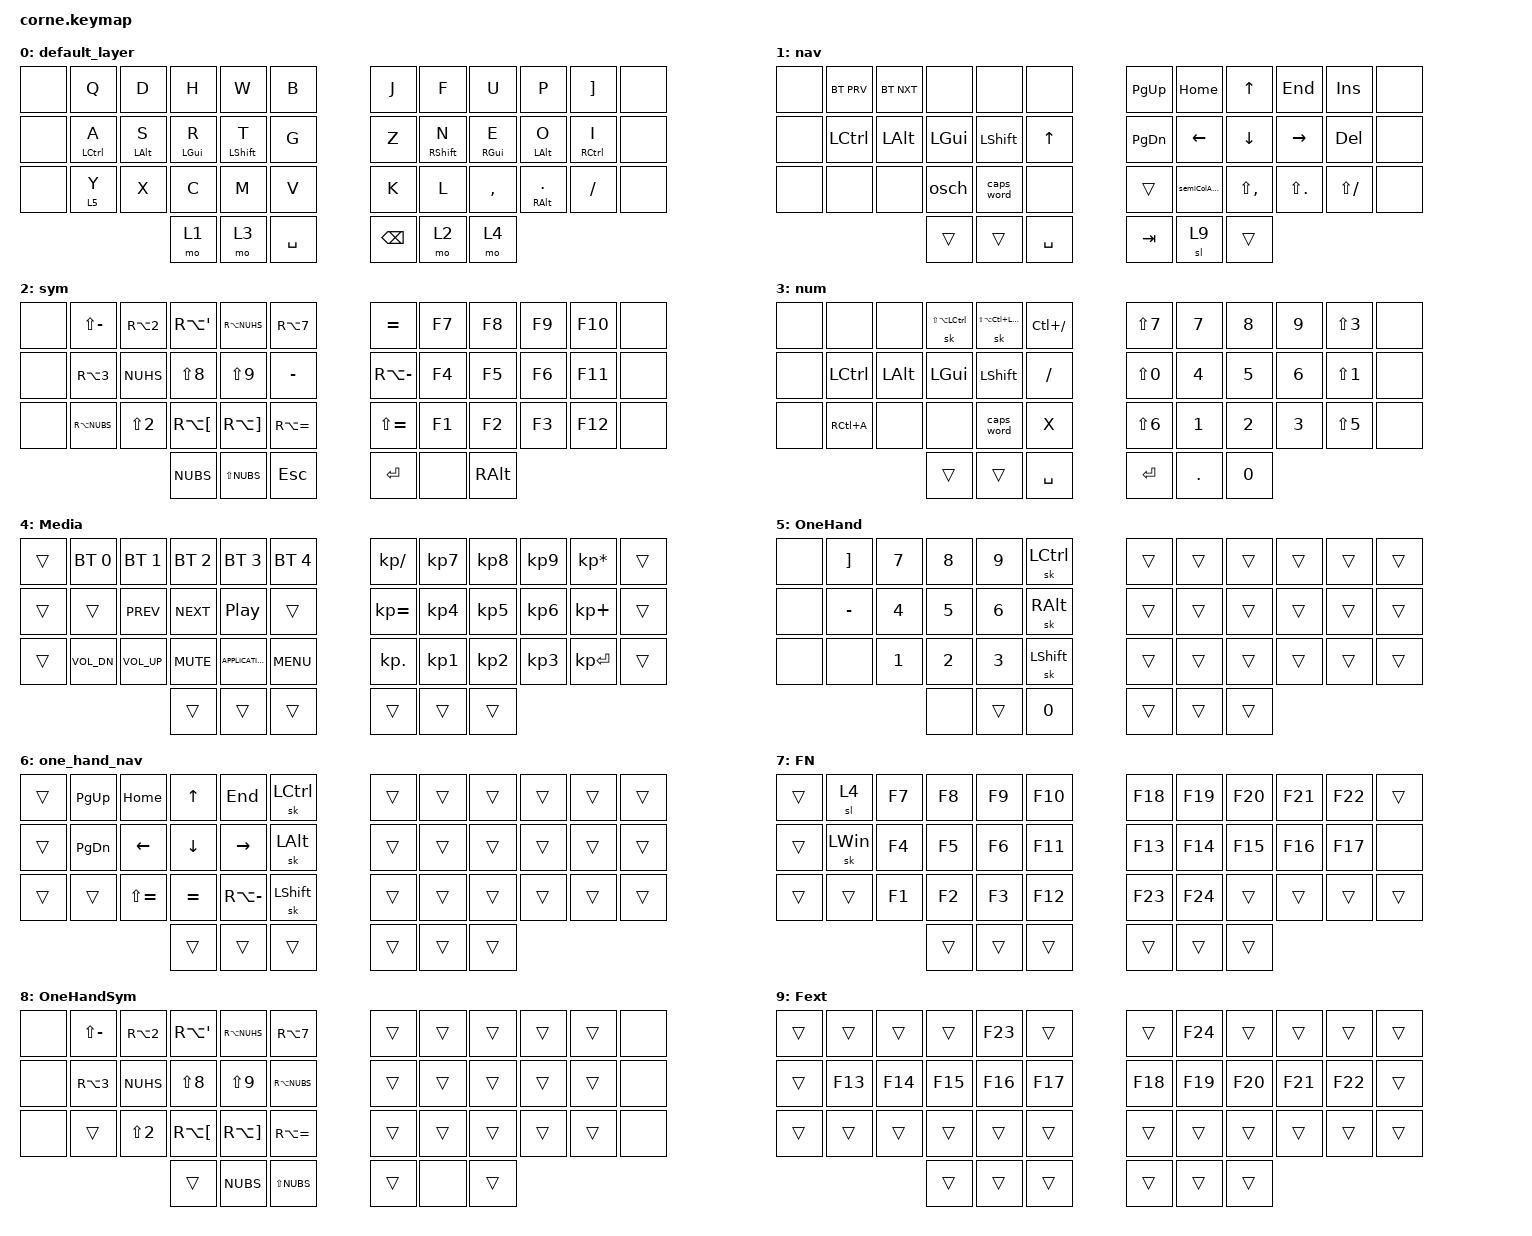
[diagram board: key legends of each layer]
/*
 * Copyright (c) 2020 The ZMK Contributors
 *
 * SPDX-License-Identifier: MIT
 */

#include <behaviors.dtsi>
#include <dt-bindings/zmk/bt.h>
#include <dt-bindings/zmk/keys.h>

&mt {
    tapping-term-ms = <300>;
    flavor = "tap-preferred";
};

/ {
    combos {
        compatible = "zmk,combos";

        COMPOSE {
            bindings = <&kp F24>;
            key-positions = <3 4>;
        };

        a_grave {
            bindings = <&kp LS(SINGLE_QUOTE)>;
            key-positions = <13 25>;
        };

        e_aigu {
            bindings = <&kp LS(SEMICOLON)>;
            key-positions = <20 8>;
        };

        e_grave {
            bindings = <&kp LBRC>;
            key-positions = <20 32>;
        };

        hat {
            bindings = <&kp EQUAL>;
            key-positions = <19 21>;
        };

        e_hat {
            bindings = <&e_hat>;
            key-positions = <21 20 19>;
        };

        AS {
            bindings = <&kp I>;
            key-positions = <13 14>;
        };

        SR {
            bindings = <&kp O>;
            key-positions = <14 15>;
        };

        RT {
            bindings = <&kp E>;
            key-positions = <15 16>;
        };

        TG {
            bindings = <&kp N>;
            key-positions = <16 17>;
        };

        MV {
            bindings = <&kp K>;
            key-positions = <29 28>;
        };

        CM {
            bindings = <&kp L>;
            key-positions = <28 27>;
        };

        XC {
            bindings = <&kp COMMA>;
            key-positions = <26 27>;
        };

        ZX {
            bindings = <&kp DOT>;
            key-positions = <25 26>;
        };

        ZC {
            bindings = <&kp SLASH>;
            key-positions = <25 27>;
        };

        QD {
            bindings = <&kp P>;
            key-positions = <2 1>;
        };

        DH {
            bindings = <&kp U>;
            key-positions = <2 3>;
        };

        WB {
            bindings = <&kp F>;
            key-positions = <4 5>;
        };

        QH {
            bindings = <&kp Z>;
            key-positions = <1 3>;
        };

        DW {
            bindings = <&kp J>;
            key-positions = <2 4>;
        };

        TW {
            bindings = <&kp ENTER>;
            key-positions = <16 4>;
        };

        GB {
            bindings = <&kp BACKSPACE>;
            key-positions = <17 5>;
        };

        tab {
            bindings = <&kp TAB>;
            key-positions = <3 15>;
        };

        esc {
            bindings = <&kp ESC>;
            key-positions = <2 14>;
        };

        xcm {
            bindings = <&kp N0>;
            key-positions = <26 28 27>;
        };

        WG {
            bindings = <&kp DELETE>;
            key-positions = <4 17>;
        };

        ASR {
            bindings = <&kp LC(FSLH)>;
            key-positions = <13 14 15>;
        };

        ZM {
            bindings = <&kp LC(A)>;
            key-positions = <27 25 26>;
        };

        EOI {
            bindings = <&o_hat>;
            key-positions = <23 22 21>;
        };

        a_um {
            bindings = <&kp SINGLE_QUOTE>;
            key-positions = <1 13>;
        };

        o_um {
            bindings = <&kp SEMI>;
            key-positions = <9 21>;
        };

        u_um {
            bindings = <&kp LEFT_BRACKET>;
            key-positions = <9 8>;
        };

        egal {
            bindings = <&kp LS(N0)>;
            key-positions = <19 18>;
        };

        apost {
            bindings = <&kp MINUS>;
            key-positions = <19 22>;
        };

        parag {
            bindings = <&kp GRAVE>;
            key-positions = <9 10 8>;
        };

        underscore {
            bindings = <&kp LS(FSLH)>;
            key-positions = <16 17>;
            layers = <3>;
        };

        clearBT {
            bindings = <&bt BT_CLR>;
            key-positions = <1 10>;
        };
    };

    macros {
        double_arrow: double_arrow {
            compatible = "zmk,behavior-macro";
            #binding-cells = <0>;
            bindings = <&kp LS(N0) &kp LS(NUBS)>;
            label = "DOUBLE_ARROW";
        };

        arrow: arrow {
            compatible = "zmk,behavior-macro";
            #binding-cells = <0>;
            bindings = <&kp SLASH &kp LS(NUBS)>;
            label = "ARROW";
        };

        osch: osch {
            compatible = "zmk,behavior-macro";
            #binding-cells = <0>;
            bindings = <&kp LS(O) &kp LS(S) &kp LS(C) &kp LS(H)>;
            label = "OSCH";
        };

        e_hat: e_hat {
            compatible = "zmk,behavior-macro";
            #binding-cells = <0>;
            bindings = <&kp EQUAL &kp E>;
            label = "E_HAT";
        };

        o_hat: o_hat {
            compatible = "zmk,behavior-macro";
            #binding-cells = <0>;
            bindings = <&kp EQUAL &kp O>;
            label = "O_HAT";
        };

        semiColAtEnd: semiColAtEnd {
            compatible = "zmk,behavior-macro";
            #binding-cells = <0>;
            bindings = <&kp END &kp LS(COMMA)>;
            label = "SEMICOLATEND";
        };
    };

    keymap {
        compatible = "zmk,keymap";

        default_layer {
            // -----------------------------------------------------------------------------------------
            // |  TAB |  Q  |  D  |  H  |  W  |  B  |   |  J  |  F   |  U  |  P  |  ¨  | BKSP |
            // | CTRL |  A  |  S  |  R  |  T  |  G  |   |  Y  |  N   |  E  |  O  |  I  |  '   |
            // | SHFT |  Z  |  X  |  C  |  M  |  V  |   |  K  |  L   |  ,  |  .  |  /  | ESC  |
            //                    | GUI | LWR | SPC |   | ENT | RSE  | ALT |

            bindings = <
&none  &kp Q        &kp D           &kp H           &kp W         &kp B        &kp J          &kp F         &kp U            &kp P           &kp RIGHT_BRACKET  &none
&none  &mt LCTRL A  &mt LEFT_ALT S  &mt LEFT_GUI R  &mt LSHIFT T  &kp G        &kp Z          &mt RSHIFT N  &mt RIGHT_GUI E  &mt LEFT_ALT O  &mt RCTRL I        &none
&none  &lt 5 Y      &kp X           &kp C           &kp M         &kp V        &kp K          &kp L         &kp COMMA        &mt RALT DOT    &kp FSLH           &none
                                    &mo 1           &mo 3         &kp SPACE    &kp BACKSPACE  &mo 2         &mo 4
            >;
        };

        nav {
            // -----------------------------------------------------------------------------------------
            // |  TAB |  1  |  2  |  3  |  4  |  5  |   |  6  |  7  |  8  |  9  |  0  | BKSP |
            // | BTCLR| BT1 | BT2 | BT3 | BT4 | BT5 |   | LFT | DWN |  UP | RGT |     |      |
            // | SHFT |     |     |     |     |     |   |     |     |     |     |     |      |
            //                    | GUI |     | SPC |   | ENT |     | ALT |

            bindings = <
&none  &bt BT_PRV  &bt BT_NXT    &none         &none       &none           &kp PAGE_UP    &kp HOME        &kp UP_ARROW   &kp END      &kp INS       &none
&none  &kp LCTRL   &kp LEFT_ALT  &kp LEFT_GUI  &kp LSHIFT  &kp UP_ARROW    &kp PAGE_DOWN  &kp LEFT_ARROW  &kp DOWN       &kp RIGHT    &kp DEL       &none
&none  &none       &none         &osch         &caps_word  &none           &trans         &semiColAtEnd   &kp LS(COMMA)  &kp LS(DOT)  &kp LS(FSLH)  &none
                                 &trans        &trans      &kp SPACE       &kp TAB        &sl 9           &trans
            >;
        };

        sym {
            // -----------------------------------------------------------------------------------------
            // |  TAB |  !  |  @  |  #  |  $  |  %  |   |  ^  |  &  |  *  |  (  |  )  | BKSP |
            // | CTRL |     |     |     |     |     |   |  -  |  =  |  [  |  ]  |  \  |  `   |
            // | SHFT |     |     |     |     |     |   |  _  |  +  |  {  |  }  | "|" |  ~   |
            //                    | GUI |     | SPC |   | ENT |     | ALT |

            bindings = <
&none  &kp LS(MINUS)     &kp RA(NUMBER_2)  &kp RA(SQT)   &kp RA(NUHS)  &kp RA(N7)       &kp EQUAL      &kp F7  &kp F8    &kp F9  &kp F10  &none
&none  &kp RA(NUMBER_3)  &kp NUHS          &kp LS(N8)    &kp LS(N9)    &kp MINUS        &kp RA(MINUS)  &kp F4  &kp F5    &kp F6  &kp F11  &none
&none  &kp RA(NUBS)      &kp LS(NUMBER_2)  &kp RA(LBKT)  &kp RA(RBKT)  &kp RA(EQUAL)    &kp LS(EQUAL)  &kp F1  &kp F2    &kp F3  &kp F12  &none
                                           &kp NUBS      &kp LS(NUBS)  &kp ESC          &kp RET        &none   &kp RALT
            >;
        };

        num {
            bindings = <
&none  &none      &none         &sk LS(LA(LCTRL))  &sk LS(LA(LC(LEFT_GUI)))  &kp LC(SLASH)    &kp LS(N7)  &kp N7        &kp N8  &kp N9        &kp LS(N3)  &none
&none  &kp LCTRL  &kp LEFT_ALT  &kp LEFT_GUI       &kp LSHIFT                &kp FSLH         &kp LS(N0)  &kp NUMBER_4  &kp N5  &kp NUMBER_6  &kp LS(N1)  &none
&none  &kp RC(A)  &none         &none              &caps_word                &kp X            &kp LS(N6)  &kp N1        &kp N2  &kp N3        &kp LS(N5)  &none
                                &trans             &trans                    &kp SPACE        &kp ENTER   &kp DOT       &kp N0
            >;
        };

        Media {
            bindings = <
&trans  &bt BT_SEL 0  &bt BT_SEL 1  &bt BT_SEL 2  &bt BT_SEL 3       &bt BT_SEL 4    &kp KP_DIVIDE  &kp KP_NUMBER_7  &kp KP_NUMBER_8  &kp KP_NUMBER_9  &kp KP_MULTIPLY  &trans
&trans  &trans        &kp C_PREV    &kp C_NEXT    &kp C_PLAY_PAUSE   &trans          &kp KP_EQUAL   &kp KP_NUMBER_4  &kp KP_NUMBER_5  &kp KP_NUMBER_6  &kp KP_PLUS      &trans
&trans  &kp C_VOL_DN  &kp C_VOL_UP  &kp C_MUTE    &kp K_APPLICATION  &kp C_MENU      &kp KP_DOT     &kp KP_NUMBER_1  &kp KP_NUMBER_2  &kp KP_NUMBER_3  &kp KP_ENTER     &trans
                                    &trans        &trans             &trans          &trans         &trans           &trans
            >;
        };

        OneHand {
            bindings = <
&none  &kp RIGHT_BRACKET  &kp N7  &kp N8  &kp N9  &sk LCTRL    &trans  &trans  &trans  &trans  &trans  &trans
&none  &kp MINUS          &kp N4  &kp N5  &kp N6  &sk RALT     &trans  &trans  &trans  &trans  &trans  &trans
&none  &none              &kp N1  &kp N2  &kp N3  &sk LSHFT    &trans  &trans  &trans  &trans  &trans  &trans
                                  &none   &trans  &kp N0       &trans  &trans  &trans
            >;
        };

        one_hand_nav {
            bindings = <
&trans  &kp PAGE_UP    &kp HOME       &kp UP_ARROW    &kp END        &sk LCTRL       &trans  &trans  &trans  &trans  &trans  &trans
&trans  &kp PAGE_DOWN  &kp LEFT       &kp DOWN_ARROW  &kp RIGHT      &sk LEFT_ALT    &trans  &trans  &trans  &trans  &trans  &trans
&trans  &trans         &kp LS(EQUAL)  &kp EQUAL       &kp RA(MINUS)  &sk LSHIFT      &trans  &trans  &trans  &trans  &trans  &trans
                                      &trans          &trans         &trans          &trans  &trans  &trans
            >;
        };

        FN {
            bindings = <
&trans  &sl 4         &kp F7  &kp F8  &kp F9  &kp F10    &kp F18  &kp F19  &kp F20  &kp F21  &kp F22  &trans
&trans  &sk LEFT_WIN  &kp F4  &kp F5  &kp F6  &kp F11    &kp F13  &kp F14  &kp F15  &kp F16  &kp F17  &none
&trans  &trans        &kp F1  &kp F2  &kp F3  &kp F12    &kp F23  &kp F24  &trans   &trans   &trans   &trans
                              &trans  &trans  &trans     &trans   &trans   &trans
            >;
        };

        OneHandSym {
            bindings = <
&none  &kp LS(MINUS)     &kp RA(NUMBER_2)  &kp RA(SQT)   &kp RA(NUHS)  &kp RA(N7)       &trans  &trans  &trans  &trans  &trans  &none
&none  &kp RA(NUMBER_3)  &kp NUHS          &kp LS(N8)    &kp LS(N9)    &kp RA(NUBS)     &trans  &trans  &trans  &trans  &trans  &none
&none  &trans            &kp LS(NUMBER_2)  &kp RA(LBKT)  &kp RA(RBKT)  &kp RA(EQUAL)    &trans  &trans  &trans  &trans  &trans  &none
                                           &trans        &kp NUBS      &kp LS(NUBS)     &trans  &none   &trans
            >;
        };

        Fext {
            bindings = <
&trans  &trans   &trans   &trans   &kp F23  &trans     &trans   &kp F24  &trans   &trans   &trans   &trans
&trans  &kp F13  &kp F14  &kp F15  &kp F16  &kp F17    &kp F18  &kp F19  &kp F20  &kp F21  &kp F22  &trans
&trans  &trans   &trans   &trans   &trans   &trans     &trans   &trans   &trans   &trans   &trans   &trans
                          &trans   &trans   &trans     &trans   &trans   &trans
            >;
        };
    };

    conditional_layers {
        compatible = "zmk,conditional-layers";

        OneHandNav {
            if-layers = <3 5>;
            then-layer = <6>;
        };

        OneHandSym {
            if-layers = <1 5>;
            then-layer = <8>;
        };

        OneHandFn {
            if-layers = <1 3>;
            then-layer = <7>;
        };
    };
};
